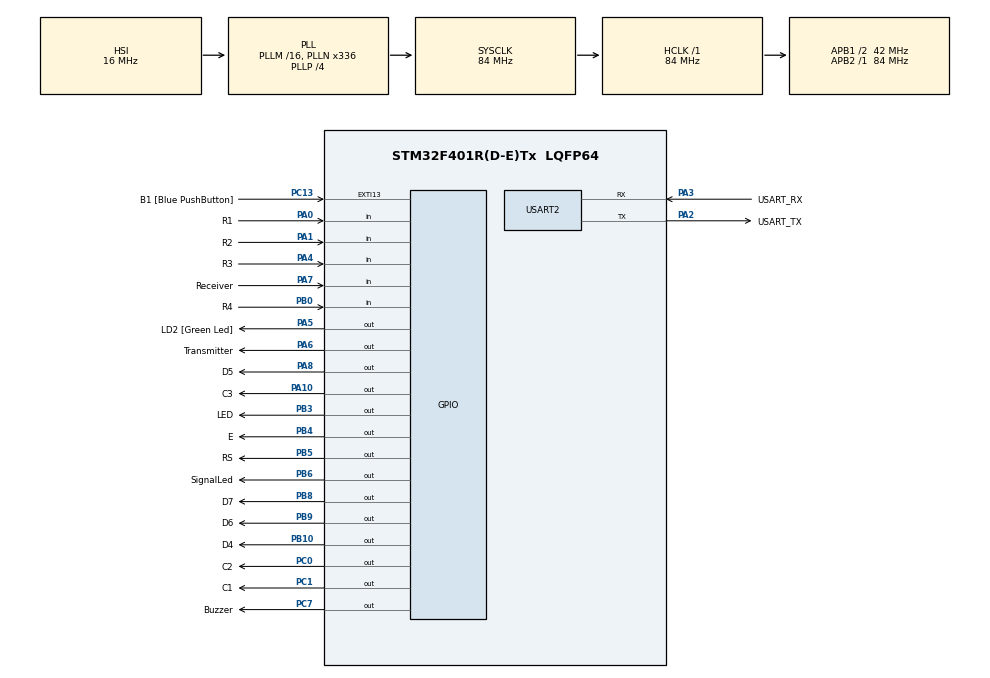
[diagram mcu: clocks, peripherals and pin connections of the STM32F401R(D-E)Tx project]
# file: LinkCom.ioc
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Mcu.Family=STM32F4
Mcu.Name=STM32F401R(D-E)Tx
Mcu.Package=LQFP64
NVIC.PriorityGroup=NVIC_PRIORITYGROUP_0
PA0-WKUP.GPIO_Label=R1
PA0-WKUP.GPIO_PuPd=GPIO_PULLUP
PA0-WKUP.Signal=GPIO_Input
PA1.GPIO_Label=R2
PA1.GPIO_PuPd=GPIO_PULLUP
PA1.Signal=GPIO_Input
PA10.GPIO_Label=C3
PA10.PinState=GPIO_PIN_SET
PA10.Signal=GPIO_Output
PA13.GPIO_Label=TMS
PA13.Mode=Serial_Wire
PA13.Signal=SYS_JTMS-SWDIO
PA14.GPIO_Label=TCK
PA14.Mode=Serial_Wire
PA14.Signal=SYS_JTCK-SWCLK
PA2.GPIO_Label=USART_TX
PA2.GPIO_Mode=GPIO_MODE_AF_PP
PA2.GPIO_PuPd=GPIO_NOPULL
PA2.GPIO_Speed=GPIO_SPEED_FREQ_LOW
PA2.Mode=Asynchronous
PA2.Signal=USART2_TX
PA3.GPIO_Label=USART_RX
PA3.GPIO_Mode=GPIO_MODE_AF_PP
PA3.GPIO_PuPd=GPIO_NOPULL
PA3.GPIO_Speed=GPIO_SPEED_FREQ_LOW
PA3.Mode=Asynchronous
PA3.Signal=USART2_RX
PA4.GPIO_Label=R3
PA4.GPIO_PuPd=GPIO_PULLUP
PA4.Signal=GPIO_Input
PA5.GPIO_Label=LD2 [Green Led]
PA5.GPIO_Mode=GPIO_MODE_OUTPUT_PP
PA5.GPIO_PuPd=GPIO_NOPULL
PA5.GPIO_Speed=GPIO_SPEED_FREQ_LOW
PA5.Signal=GPIO_Output
PA6.GPIO_Label=Transmitter
PA6.GPIO_ModeDefaultOutputPP=GPIO_MODE_OUTPUT_PP
PA6.GPIO_Speed=GPIO_SPEED_FREQ_VERY_HIGH
PA6.PinState=GPIO_PIN_SET
PA6.Signal=GPIO_Output
PA7.GPIO_Label=Receiver
PA7.GPIO_PuPd=GPIO_NOPULL
PA7.Signal=GPIO_Input
PA8.GPIO_Label=D5
PA8.GPIO_Speed=GPIO_SPEED_FREQ_MEDIUM
PA8.Signal=GPIO_Output
PB0.GPIO_Label=R4
PB0.GPIO_PuPd=GPIO_PULLUP
PB0.Signal=GPIO_Input
PB10.GPIO_Label=D4
PB10.GPIO_Speed=GPIO_SPEED_FREQ_MEDIUM
PB10.Signal=GPIO_Output
PB3.GPIO_Label=LED
PB3.Signal=GPIO_Output
PB4.GPIO_Label=E
PB4.Signal=GPIO_Output
PB5.GPIO_Label=RS
PB5.GPIO_Speed=GPIO_SPEED_FREQ_MEDIUM
PB5.Signal=GPIO_Output
PB6.GPIO_Label=SignalLed
PB6.Signal=GPIO_Output
PB8.GPIO_Label=D7
PB8.GPIO_Speed=GPIO_SPEED_FREQ_MEDIUM
PB8.Signal=GPIO_Output
PB9.GPIO_Label=D6
PB9.GPIO_Speed=GPIO_SPEED_FREQ_MEDIUM
PB9.Signal=GPIO_Output
PC0.GPIO_Label=C2
PC0.PinState=GPIO_PIN_SET
PC0.Signal=GPIO_Output
PC1.GPIO_Label=C1
PC1.PinState=GPIO_PIN_SET
PC1.Signal=GPIO_Output
PC13-ANTI_TAMP.GPIO_Label=B1 [Blue PushButton]
PC13-ANTI_TAMP.GPIO_ModeDefaultEXTI=GPIO_MODE_IT_FALLING
PC13-ANTI_TAMP.GPIO_PuPd=GPIO_NOPULL
PC13-ANTI_TAMP.Signal=GPXTI13
PC14-OSC32_IN.Mode=LSE-External-Oscillator
PC14-OSC32_IN.Signal=RCC_OSC32_IN
PC15-OSC32_OUT.Mode=LSE-External-Oscillator
PC15-OSC32_OUT.Signal=RCC_OSC32_OUT
PC7.GPIO_Label=Buzzer
PC7.GPIO_Speed=GPIO_SPEED_FREQ_HIGH
PC7.Signal=GPIO_Output
PH0\ -\ OSC_IN.Mode=HSE-External-Clock-Source
PH0\ -\ OSC_IN.Signal=RCC_OSC_IN
PH1\ -\ OSC_OUT.Mode=HSE-External-Clock-Source
PH1\ -\ OSC_OUT.Signal=RCC_OSC_OUT
ProjectManager.HeapSize=0x200
ProjectManager.StackSize=0x400
ProjectManager.TargetToolchain=STM32CubeIDE
RCC.48MHZClocksFreq_Value=48000000
RCC.AHBFreq_Value=84000000
RCC.APB1CLKDivider=RCC_HCLK_DIV2
RCC.APB1Freq_Value=42000000
RCC.APB1TimFreq_Value=84000000
RCC.APB2Freq_Value=84000000
RCC.APB2TimFreq_Value=84000000
RCC.CortexFreq_Value=84000000
RCC.HCLKFreq_Value=84000000
RCC.HSE_VALUE=8000000
RCC.HSI_VALUE=16000000
RCC.PLLN=336
RCC.PLLP=RCC_PLLP_DIV4
RCC.PLLQ=7
RCC.SYSCLKFreq_VALUE=84000000
RCC.SYSCLKSource=RCC_SYSCLKSOURCE_PLLCLK
RCC.VCOOutputFreq_Value=336000000
USART2.VirtualMode=VM_ASYNC
board=NUCLEO-F401RE

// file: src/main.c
/* USER CODE BEGIN Header */
/**
 ******************************************************************************
 * @file           : main.c
 * @brief          : Main program body
 ******************************************************************************
 * @attention
 *
 * Copyright (c) 2024 STMicroelectronics.
 * All rights reserved.
 *
 * This software is licensed under terms that can be found in the LICENSE file
 * in the root directory of this software component.
 * If no LICENSE file comes with this software, it is provided AS-IS.
 *
 ******************************************************************************
 */
/* USER CODE END Header */
#include "main.h"

/* USER CODE BEGIN Includes */
#include <stdarg.h>
#include <stdbool.h>
#include <stdio.h>
#include <string.h>

/* USER CODE END Includes */

/* USER CODE BEGIN PTD */
typedef enum {
    PULSE_RESULT_NONE,      // Still waiting for a pulse or timeout
    PULSE_RESULT_DETECTED,  // Pulse was detected
    PULSE_RESULT_TIMEOUT    // Timeout without a pulse
} PulseResult;

/* USER CODE END PTD */

/* USER CODE BEGIN PD */
PulseResult detectPulse(void);
// static bool isPulseDetectionActive = false;
// static uint32_t pulseStartTime = 0;
#define PULSE_DURATION 200        // ms
#define DELAY_LOGIC 200           // ms
#define PULSE_DURATION_LOGIC 200  // ms
#define MESSAGE_BIT_DURATION 200  // ms

typedef enum {
    STATE_IDLE,
    STATE_WAITING_ACK,
    STATE_RECEIVING,
    STATE_TRANSMITTING,
    STATE_COMPLETED
} STM_State;

char *messages[3][3] = {{"Hello", "Good Morning", "Good Night"},
                        {"Breakfast", "Lunch", "Dinner"},
                        {"Yes", "No", "Thanks"}};

STM_State currentState = STATE_IDLE;
bool messageReceived = false;
uint8_t receivedMessage = 0;
static uint8_t messageToSend = 0b1010;  // Sample message for right now to send
#define LCD_RS_PORT GPIOB
#define LCD_RS_PIN GPIO_PIN_5

#define LCD_E_PORT GPIOB
#define LCD_E_PIN GPIO_PIN_4

#define LCD_D4_PORT GPIOB
#define LCD_D4_PIN GPIO_PIN_10

#define LCD_D5_PORT GPIOA
#define LCD_D5_PIN GPIO_PIN_8

#define LCD_D6_PORT GPIOB
#define LCD_D6_PIN GPIO_PIN_9

#define LCD_D7_PORT GPIOB
#define LCD_D7_PIN GPIO_PIN_8

void SystemClock_Config(void);
static void MX_GPIO_Init(void);
void LCD_Init(void);
void LCD_SendCommand(uint8_t cmd);
void LCD_SendData(uint8_t data);
void LCD_SendNibble(uint8_t nibble);
void LCD_PulseEnable(void);
void LCD_Clear(void);
void LCD_SetCursor(uint8_t row, uint8_t col);
void LCD_Print(char *str);
char readKeypad(void);
void println(const char *format, ...);
void sendPulse(uint32_t duration_ms);
bool waitForPulse(uint32_t timeout_ms);
void startMessageTransmission();
void listenForMessage();
void transmitMessage(uint8_t message);
uint8_t receiveMessage();
/* USER CODE END PD */

UART_HandleTypeDef huart2;

/* USER CODE BEGIN PV */
/**
 * @brief Transmits a formatted string or GPIO pin value over UART, followed by
 * a newline.
 * @param format: A format string (like printf).
 * @param ...: Variadic arguments for the format string.
 */
void println(const char *format, ...) {
    char msg[256];  // Buffer for the message
    va_list args;

    // Prepare the formatted string
    va_start(args, format);
    vsnprintf(msg, sizeof(msg), format, args);
    va_end(args);

    // Append a newline sequence
    strncat(msg, "\r\n", sizeof(msg) - strlen(msg) - 1);

    // Transmit the message over UART
    HAL_UART_Transmit(&huart2, (uint8_t *)msg, strlen(msg), HAL_MAX_DELAY);
}

/**
 * @brief Asynchronously detects a pulse on the input pin.
 * @note Call this function repeatedly in the main loop.
 * @retval PulseResult: The current state of pulse detection.
 */
PulseResult detectPulse(void) {
    if (HAL_GPIO_ReadPin(Receiver_GPIO_Port, Receiver_Pin) != GPIO_PIN_RESET) {
        //		println("No");
        HAL_GPIO_WritePin(Buzzer_GPIO_Port, Buzzer_Pin, GPIO_PIN_RESET);
    } else {
        // println("Yes");
        HAL_GPIO_WritePin(Buzzer_GPIO_Port, Buzzer_Pin, GPIO_PIN_SET);
    }

    // Still waiting for a pulse or timeout
    return PULSE_RESULT_NONE;
}

char readKeypad(void) {
    // Keypad Layout
    char keys[4][3] = {{1, 2, 3}, {4, 5, 6}, {7, 8, 9}, {'*', '0', '#'}};

    // Row and Column Pins
    GPIO_TypeDef *rowPorts[4] = {GPIOA, GPIOA, GPIOA, GPIOB};
    uint16_t rowPins[4] = {R1_Pin, R2_Pin, R3_Pin, R4_Pin};

    GPIO_TypeDef *colPorts[3] = {GPIOC, GPIOC, GPIOA};
    uint16_t colPins[3] = {C1_Pin, C2_Pin, C3_Pin};

    // Scan Columns and Rows
    for (int col = 0; col < 3; col++) {
        // Set all columns HIGH
        for (int i = 0; i < 3; i++) {
            HAL_GPIO_WritePin(colPorts[i], colPins[i], GPIO_PIN_SET);
        }

        // Set current column LOW
        HAL_GPIO_WritePin(colPorts[col], colPins[col], GPIO_PIN_RESET);

        // Check rows
        for (int row = 0; row < 4; row++) {
            if (HAL_GPIO_ReadPin(rowPorts[row], rowPins[row]) ==
                GPIO_PIN_RESET) {
                // Debounce
                HAL_Delay(20);
                while (HAL_GPIO_ReadPin(rowPorts[row], rowPins[row]) ==
                       GPIO_PIN_RESET);
                HAL_Delay(20);

                // Return the pressed key
                return keys[row][col];
            }
        }
    }
    return 'x';
}

/**
 * @brief Sends a high pulse for the specified duration.
 * @param duration_ms Duration of the pulse in milliseconds.
 */
void sendPulse(uint32_t duration_ms) {
    HAL_GPIO_WritePin(Transmitter_GPIO_Port, Transmitter_Pin, GPIO_PIN_SET);
    HAL_Delay(duration_ms);
    HAL_GPIO_WritePin(Transmitter_GPIO_Port, Transmitter_Pin, GPIO_PIN_RESET);
}

/**
 * @brief Waits for a pulse on the receiver pin.
 * @param timeout_ms Timeout duration in milliseconds.
 * @retval true if pulse detected, false otherwise.
 */
bool waitForPulse(uint32_t timeout_ms) {
    uint32_t startTime = HAL_GetTick();
    while ((HAL_GetTick() - startTime) < timeout_ms) {
        if (HAL_GPIO_ReadPin(Receiver_GPIO_Port, Receiver_Pin) ==
            GPIO_PIN_RESET) {
            // HAL_GPIO_WritePin(Buzzer_GPIO_Port, Buzzer_Pin, GPIO_PIN_SET);
            // HAL_Delay(10);
            // // println("Pulse detected");
            // HAL_GPIO_WritePin(Buzzer_GPIO_Port, Buzzer_Pin, GPIO_PIN_RESET);
            return true;
        }
    }
    return false;
}
// Tracks the last pulse state received
static bool pulseReceived = false;
static bool lastPulseReceived = false;

/**
 * @brief Waits for a pulse with a timeout.
 * @param timeout Duration to wait for a pulse in milliseconds.
 * @retval true if a pulse was detected, false if timeout occurred.
 */
bool waitForPulseWithTimeout(uint32_t timeout) {
    uint32_t startTime = HAL_GetTick();
    while (HAL_GetTick() - startTime < timeout) {
        if (waitForPulse(1)) return true;
    }
    return false;
}

/**
 * @brief Starts the message transmission sequence.
 */
void startMessageTransmission() {
    sendPulse(MESSAGE_BIT_DURATION);
    HAL_Delay(DELAY_LOGIC);

    for (int i = 0; i < 4; i++) {
        if (messageToSend & (1 << i)) {
            sendPulse(MESSAGE_BIT_DURATION);
        } else {
            HAL_Delay(DELAY_LOGIC);
        }
        HAL_Delay(DELAY_LOGIC);
    }
}

/**
 * @brief Listens for a start pulse and processes a received message.
 */
void listenForMessage() {
    bool pulseReceived = waitForPulse(1);
    if (pulseReceived && !lastPulseReceived) {
        HAL_GPIO_WritePin(Buzzer_GPIO_Port, Buzzer_Pin, GPIO_PIN_SET);
        HAL_GPIO_WritePin(SignalLed_GPIO_Port, SignalLed_Pin, GPIO_PIN_SET);
    }
    if (!pulseReceived && lastPulseReceived) {
        uint8_t message = 0;
        LCD_Clear();
        LCD_SetCursor(0, 0);
        LCD_Print("Receiving...");
        for (int i = 0; i < 4; i++) {
            if (waitForPulse(MESSAGE_BIT_DURATION)) {
                message |= (1 << i);
            }
            HAL_Delay(DELAY_LOGIC);
        }
        receivedMessage = message;
        messageReceived = true;
    }
    lastPulseReceived = pulseReceived;
}

/**
 * @brief Initializes the LCD with in 4-bit mode.
 */
void LCD_Init(void) {
    HAL_Delay(20);  // Wait for LCD to power up

    // Function Set: 8-bit mode (3 times) for initialization
    LCD_SendNibble(0x3);
    LCD_PulseEnable();
    HAL_Delay(5);

    LCD_SendNibble(0x3);
    LCD_PulseEnable();
    HAL_Delay(1);

    LCD_SendNibble(0x3);
    LCD_PulseEnable();
    HAL_Delay(1);

    // Function Set: 4-bit mode
    LCD_SendNibble(0x2);
    LCD_PulseEnable();
    HAL_Delay(1);

    // Function Set: 4-bit, 2 lines, 5x8 dots
    LCD_SendCommand(0x28);

    // Display ON/OFF Control: Display on, cursor off, blink off
    LCD_SendCommand(0x0C);

    // Clear Display
    LCD_SendCommand(0x01);
    HAL_Delay(2);

    // Entry Mode Set: Increment cursor
    LCD_SendCommand(0x06);
}

/**
 * @brief Sends a command to the LCD.
 */
void LCD_SendCommand(uint8_t cmd) {
    // RS = 0 for command
    HAL_GPIO_WritePin(LCD_RS_PORT, LCD_RS_PIN, GPIO_PIN_RESET);

    // Send higher nibble
    LCD_SendNibble((cmd >> 4) & 0x0F);
    LCD_PulseEnable();

    // Send lower nibble
    LCD_SendNibble(cmd & 0x0F);
    LCD_PulseEnable();

    HAL_Delay(2);  // Wait for command to execute
}

/**
 * @brief Sends data to the LCD.
 */
void LCD_SendData(uint8_t data) {
    // RS = 1 for data
    HAL_GPIO_WritePin(LCD_RS_PORT, LCD_RS_PIN, GPIO_PIN_SET);

    // Send higher nibble
    LCD_SendNibble((data >> 4) & 0x0F);
    LCD_PulseEnable();

    // Send lower nibble
    LCD_SendNibble(data & 0x0F);
    LCD_PulseEnable();

    HAL_Delay(2);  // Wait for data to be written
}

/**
 * @brief Sends a nibble to the LCD.
 */
void LCD_SendNibble(uint8_t nibble) {
    // Clear all data pins first
    HAL_GPIO_WritePin(LCD_D4_PORT, LCD_D4_PIN, GPIO_PIN_RESET);
    HAL_GPIO_WritePin(LCD_D5_PORT, LCD_D5_PIN, GPIO_PIN_RESET);
    HAL_GPIO_WritePin(LCD_D6_PORT, LCD_D6_PIN, GPIO_PIN_RESET);
    HAL_GPIO_WritePin(LCD_D7_PORT, LCD_D7_PIN, GPIO_PIN_RESET);

    // Set D4 (PB10) - Bit 0
    if (nibble & 0x1) HAL_GPIO_WritePin(LCD_D4_PORT, LCD_D4_PIN, GPIO_PIN_SET);

    // Set D5 (PA8) - Bit 1
    if (nibble & 0x2) HAL_GPIO_WritePin(LCD_D5_PORT, LCD_D5_PIN, GPIO_PIN_SET);

    // Set D6 (PB9) - Bit 2
    if (nibble & 0x4) HAL_GPIO_WritePin(LCD_D6_PORT, LCD_D6_PIN, GPIO_PIN_SET);

    // Set D7 (PB8) - Bit 3
    if (nibble & 0x8) HAL_GPIO_WritePin(LCD_D7_PORT, LCD_D7_PIN, GPIO_PIN_SET);
}

/**
 * @brief Generates a pulse on the E pin of the LCD.
 */
void LCD_PulseEnable(void) {
    // Generate a pulse on the E pin
    HAL_GPIO_WritePin(LCD_E_PORT, LCD_E_PIN, GPIO_PIN_SET);
    HAL_Delay(1);  // Enable pulse must be > 450ns
    HAL_GPIO_WritePin(LCD_E_PORT, LCD_E_PIN, GPIO_PIN_RESET);
    HAL_Delay(1);  // Commands need > 37us to settle
}

/**
 * @brief Clears the LCD display.
 */
void LCD_Clear(void) {
    LCD_SendCommand(0x01);  // Clear display command
    HAL_Delay(2);           // Wait for clear to execute
}

/**
 * @brief Sets the cursor position on the LCD.
 */
void LCD_SetCursor(uint8_t row, uint8_t col) {
    uint8_t address;

    // Calculate DDRAM address based on row and column
    if (row == 0)
        address = 0x00 + col;
    else
        address = 0x40 + col;

    LCD_SendCommand(0x80 | address);
}

/**
 * @brief Prints a character on the LCD.
 */
void LCD_Print(char *str) {
    while (*str) {
        LCD_SendData(*str++);
    }
}
/* USER CODE END PV */

void SystemClock_Config(void);
static void MX_GPIO_Init(void);
static void MX_USART2_UART_Init(void);

int main(void) {

    /* MCU
     * Configuration--------------------------------------------------------*/

    /* Reset of all peripherals, Initializes the Flash interface and the
     * Systick. */
    HAL_Init();

    /* Configure the system clock */
    SystemClock_Config();

    /* Initialize all configured peripherals */
    MX_GPIO_Init();
    MX_USART2_UART_Init();
    /* USER CODE BEGIN 2 */
    LCD_Init();

    // Clear the LCD
    LCD_Clear();

    // Set cursor to first line, first position
    LCD_SetCursor(0, 0);
    /* USER CODE END 2 */

    /* Infinite loop */
    while (1) {
        int key = readKeypad() - 1;
        if (key != 'x' - 1) {
            if (key >= 0 && key < 9) {
                LCD_Clear();
                LCD_SetCursor(0, 0);
                LCD_Print("Sending: ");
                LCD_SetCursor(1, 0);
                LCD_Print(messages[key / 3][key % 3]);

                messageToSend = key;
                startMessageTransmission();
            }
        }

        // Continuously check for incoming messages
        listenForMessage();
        if (messageReceived) {
            // Display the received message on the LCD
            LCD_Clear();
            LCD_SetCursor(0, 0);
            LCD_Print("Received: ");
            LCD_SetCursor(1, 0);
            LCD_Print(messages[receivedMessage / 3][receivedMessage % 3]);
            messageReceived = false;  // Reset the flag
            HAL_GPIO_WritePin(Buzzer_GPIO_Port, Buzzer_Pin, GPIO_PIN_RESET);
            HAL_GPIO_WritePin(SignalLed_GPIO_Port, SignalLed_Pin,
                              GPIO_PIN_RESET);
        }
    }
}

void SystemClock_Config(void) {
    RCC_OscInitTypeDef RCC_OscInitStruct = {0};
    RCC_ClkInitTypeDef RCC_ClkInitStruct = {0};

    /** Configure the main internal regulator output voltage
     */
    __HAL_RCC_PWR_CLK_ENABLE();
    __HAL_PWR_VOLTAGESCALING_CONFIG(PWR_REGULATOR_VOLTAGE_SCALE2);

    /** Initializes the RCC Oscillators according to the specified parameters
     * in the RCC_OscInitTypeDef structure.
     */
    RCC_OscInitStruct.OscillatorType = RCC_OSCILLATORTYPE_HSI;
    RCC_OscInitStruct.HSIState = RCC_HSI_ON;
    RCC_OscInitStruct.HSICalibrationValue = RCC_HSICALIBRATION_DEFAULT;
    RCC_OscInitStruct.PLL.PLLState = RCC_PLL_ON;
    RCC_OscInitStruct.PLL.PLLSource = RCC_PLLSOURCE_HSI;
    RCC_OscInitStruct.PLL.PLLM = 16;
    RCC_OscInitStruct.PLL.PLLN = 336;
    RCC_OscInitStruct.PLL.PLLP = RCC_PLLP_DIV4;
    RCC_OscInitStruct.PLL.PLLQ = 7;
    if (HAL_RCC_OscConfig(&RCC_OscInitStruct) != HAL_OK) {
        Error_Handler();
    }

    /** Initializes the CPU, AHB and APB buses clocks
     */
    RCC_ClkInitStruct.ClockType = RCC_CLOCKTYPE_HCLK | RCC_CLOCKTYPE_SYSCLK |
                                  RCC_CLOCKTYPE_PCLK1 | RCC_CLOCKTYPE_PCLK2;
    RCC_ClkInitStruct.SYSCLKSource = RCC_SYSCLKSOURCE_PLLCLK;
    RCC_ClkInitStruct.AHBCLKDivider = RCC_SYSCLK_DIV1;
    RCC_ClkInitStruct.APB1CLKDivider = RCC_HCLK_DIV2;
    RCC_ClkInitStruct.APB2CLKDivider = RCC_HCLK_DIV1;

    if (HAL_RCC_ClockConfig(&RCC_ClkInitStruct, FLASH_LATENCY_2) != HAL_OK) {
        Error_Handler();
    }
}

static void MX_USART2_UART_Init(void) {

    huart2.Instance = USART2;
    huart2.Init.BaudRate = 115200;
    huart2.Init.WordLength = UART_WORDLENGTH_8B;
    huart2.Init.StopBits = UART_STOPBITS_1;
    huart2.Init.Parity = UART_PARITY_NONE;
    huart2.Init.Mode = UART_MODE_TX_RX;
    huart2.Init.HwFlowCtl = UART_HWCONTROL_NONE;
    huart2.Init.OverSampling = UART_OVERSAMPLING_16;
    if (HAL_UART_Init(&huart2) != HAL_OK) {
        Error_Handler();
    }
}

static void MX_GPIO_Init(void) {
    GPIO_InitTypeDef GPIO_InitStruct = {0};

    /* GPIO Ports Clock Enable */
    __HAL_RCC_GPIOC_CLK_ENABLE();
    __HAL_RCC_GPIOH_CLK_ENABLE();
    __HAL_RCC_GPIOA_CLK_ENABLE();
    __HAL_RCC_GPIOB_CLK_ENABLE();

    /*Configure GPIO pin Output Level */
    HAL_GPIO_WritePin(GPIOC, C2_Pin | C1_Pin, GPIO_PIN_SET);

    /*Configure GPIO pin Output Level */
    HAL_GPIO_WritePin(GPIOA, LD2_Pin | D5_Pin, GPIO_PIN_RESET);

    /*Configure GPIO pin Output Level */
    HAL_GPIO_WritePin(GPIOA, Transmitter_Pin | C3_Pin, GPIO_PIN_SET);

    /*Configure GPIO pin Output Level */
    HAL_GPIO_WritePin(
        GPIOB,
        D4_Pin | LED_Pin | E_Pin | RS_Pin | SignalLed_Pin | D7_Pin | D6_Pin,
        GPIO_PIN_RESET);

    /*Configure GPIO pin Output Level */
    HAL_GPIO_WritePin(Buzzer_GPIO_Port, Buzzer_Pin, GPIO_PIN_RESET);

    /*Configure GPIO pin : B1_Pin */
    GPIO_InitStruct.Pin = B1_Pin;
    GPIO_InitStruct.Mode = GPIO_MODE_IT_FALLING;
    GPIO_InitStruct.Pull = GPIO_NOPULL;
    HAL_GPIO_Init(B1_GPIO_Port, &GPIO_InitStruct);

    /*Configure GPIO pins : C2_Pin C1_Pin */
    GPIO_InitStruct.Pin = C2_Pin | C1_Pin;
    GPIO_InitStruct.Mode = GPIO_MODE_OUTPUT_PP;
    GPIO_InitStruct.Pull = GPIO_NOPULL;
    GPIO_InitStruct.Speed = GPIO_SPEED_FREQ_LOW;
    HAL_GPIO_Init(GPIOC, &GPIO_InitStruct);

    /*Configure GPIO pins : R1_Pin R2_Pin R3_Pin */
    GPIO_InitStruct.Pin = R1_Pin | R2_Pin | R3_Pin;
    GPIO_InitStruct.Mode = GPIO_MODE_INPUT;
    GPIO_InitStruct.Pull = GPIO_PULLUP;
    HAL_GPIO_Init(GPIOA, &GPIO_InitStruct);

    /*Configure GPIO pins : LD2_Pin C3_Pin */
    GPIO_InitStruct.Pin = LD2_Pin | C3_Pin;
    GPIO_InitStruct.Mode = GPIO_MODE_OUTPUT_PP;
    GPIO_InitStruct.Pull = GPIO_NOPULL;
    GPIO_InitStruct.Speed = GPIO_SPEED_FREQ_LOW;
    HAL_GPIO_Init(GPIOA, &GPIO_InitStruct);

    /*Configure GPIO pin : Transmitter_Pin */
    GPIO_InitStruct.Pin = Transmitter_Pin;
    GPIO_InitStruct.Mode = GPIO_MODE_OUTPUT_PP;
    GPIO_InitStruct.Pull = GPIO_NOPULL;
    GPIO_InitStruct.Speed = GPIO_SPEED_FREQ_VERY_HIGH;
    HAL_GPIO_Init(Transmitter_GPIO_Port, &GPIO_InitStruct);

    /*Configure GPIO pin : Receiver_Pin */
    GPIO_InitStruct.Pin = Receiver_Pin;
    GPIO_InitStruct.Mode = GPIO_MODE_INPUT;
    GPIO_InitStruct.Pull = GPIO_NOPULL;
    HAL_GPIO_Init(Receiver_GPIO_Port, &GPIO_InitStruct);

    /*Configure GPIO pin : R4_Pin */
    GPIO_InitStruct.Pin = R4_Pin;
    GPIO_InitStruct.Mode = GPIO_MODE_INPUT;
    GPIO_InitStruct.Pull = GPIO_PULLUP;
    HAL_GPIO_Init(R4_GPIO_Port, &GPIO_InitStruct);

    /*Configure GPIO pins : D4_Pin RS_Pin D7_Pin D6_Pin */
    GPIO_InitStruct.Pin = D4_Pin | RS_Pin | D7_Pin | D6_Pin;
    GPIO_InitStruct.Mode = GPIO_MODE_OUTPUT_PP;
    GPIO_InitStruct.Pull = GPIO_NOPULL;
    GPIO_InitStruct.Speed = GPIO_SPEED_FREQ_MEDIUM;
    HAL_GPIO_Init(GPIOB, &GPIO_InitStruct);

    /*Configure GPIO pin : Buzzer_Pin */
    GPIO_InitStruct.Pin = Buzzer_Pin;
    GPIO_InitStruct.Mode = GPIO_MODE_OUTPUT_PP;
    GPIO_InitStruct.Pull = GPIO_NOPULL;
    GPIO_InitStruct.Speed = GPIO_SPEED_FREQ_HIGH;
    HAL_GPIO_Init(Buzzer_GPIO_Port, &GPIO_InitStruct);

    /*Configure GPIO pin : D5_Pin */
    GPIO_InitStruct.Pin = D5_Pin;
    GPIO_InitStruct.Mode = GPIO_MODE_OUTPUT_PP;
    GPIO_InitStruct.Pull = GPIO_NOPULL;
    GPIO_InitStruct.Speed = GPIO_SPEED_FREQ_MEDIUM;
    HAL_GPIO_Init(D5_GPIO_Port, &GPIO_InitStruct);

    /*Configure GPIO pins : LED_Pin E_Pin SignalLed_Pin */
    GPIO_InitStruct.Pin = LED_Pin | E_Pin | SignalLed_Pin;
    GPIO_InitStruct.Mode = GPIO_MODE_OUTPUT_PP;
    GPIO_InitStruct.Pull = GPIO_NOPULL;
    GPIO_InitStruct.Speed = GPIO_SPEED_FREQ_LOW;
    HAL_GPIO_Init(GPIOB, &GPIO_InitStruct);

}

void Error_Handler(void) {
    /* USER CODE BEGIN Error_Handler_Debug */
    /* User can add his own implementation to report the HAL error return state
     */
    __disable_irq();
    while (1) {
    }
    /* USER CODE END Error_Handler_Debug */
}

#ifdef USE_FULL_ASSERT
/**
 * @brief  Reports the name of the source file and the source line number
 *         where the assert_param error has occurred.
 * @param  file: pointer to the source file name
 * @param  line: assert_param error line source number
 * @retval None
 */
void assert_failed(uint8_t *file, uint32_t line) {
    /* USER CODE BEGIN 6 */
    /* User can add his own implementation to report the file name and line
       number, ex: printf("Wrong parameters value: file %s on line %d\r\n",
       file, line) */
    /* USER CODE END 6 */
}
#endif /* USE_FULL_ASSERT */
